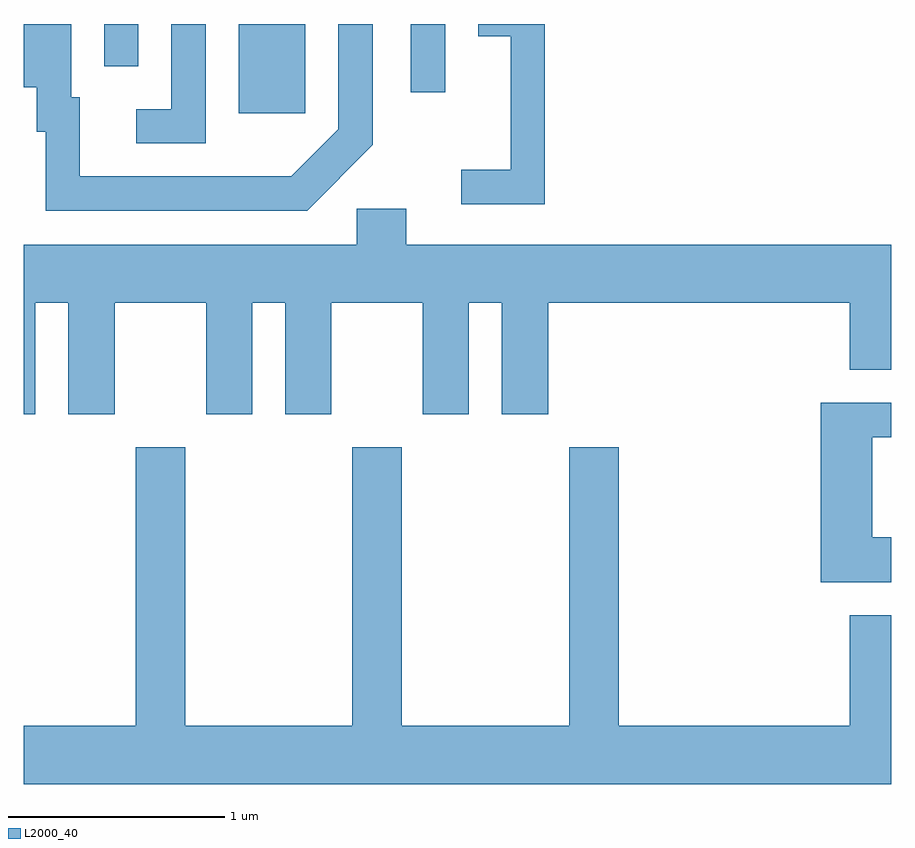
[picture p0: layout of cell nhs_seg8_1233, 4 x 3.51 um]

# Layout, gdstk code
import gdstk
lib = gdstk.Library(unit=1e-6, precision=1e-09)
def R(c, l, rs):  # rectangles x0, y0, x1, y1
    for r in rs: c.add(gdstk.rectangle(r[:2], r[2:], *l))
def P(c, l, *ps):  # polygons
    for p in ps: c.add(gdstk.Polygon(p, *l))
L2000_40 = (2000, 40)

nhs_seg8_1233 = lib.new_cell('nhs_seg8_1233')
R(nhs_seg8_1233, L2000_40, [(222.601,1863.931,222.909,1864.342), (223.396,1864.028,223.554,1864.342), (221.981,1864.148,222.139,1864.342)])
P(nhs_seg8_1233, L2000_40, [(224.014,1864.342),(223.706,1864.342),(223.706,1864.286),(223.856,1864.286),(223.856,1863.669),(223.628,1863.669),(223.628,1863.511),(224.014,1863.511)],
  [(223.219,1863.784),(223.219,1864.342),(223.061,1864.342),(223.061,1863.857),(222.844,1863.639),(221.869,1863.639),(221.869,1864.004),(221.829,1864.004),(221.829,1864.342),(221.611,1864.342),(221.611,1864.051),(221.671,1864.051),(221.671,1863.846),(221.711,1863.846),(221.711,1863.481),(222.917,1863.481)],
  [(222.449,1864.342),(222.291,1864.342),(222.291,1863.949),(222.128,1863.949),(222.128,1863.791),(222.449,1863.791)],
  [(221.664,1863.056),(221.816,1863.056),(221.816,1862.541),(222.029,1862.541),(222.029,1863.056),(222.451,1863.056),(222.451,1862.541),(222.664,1862.541),(222.664,1863.056),(222.816,1863.056),(222.816,1862.541),(223.029,1862.541),(223.029,1863.056),(223.451,1863.056),(223.451,1862.541),(223.664,1862.541),(223.664,1863.056),(223.816,1863.056),(223.816,1862.541),(224.029,1862.541),(224.029,1863.056),(225.421,1863.056),(225.421,1862.746),(225.611,1862.746),(225.611,1863.324),(223.374,1863.324),(223.374,1863.489),(223.146,1863.489),(223.146,1863.324),(221.611,1863.324),(221.611,1862.541),(221.664,1862.541)],
  [(225.611,1861.974),(225.524,1861.974),(225.524,1862.436),(225.611,1862.436),(225.611,1862.594),(225.286,1862.594),(225.286,1861.766),(225.611,1861.766)],
  [(225.611,1861.614),(225.421,1861.614),(225.421,1861.104),(224.354,1861.104),(224.354,1862.389),(224.126,1862.389),(224.126,1861.104),(223.354,1861.104),(223.354,1862.389),(223.126,1862.389),(223.126,1861.104),(222.354,1861.104),(222.354,1862.389),(222.126,1862.389),(222.126,1861.104),(221.611,1861.104),(221.611,1860.836),(225.611,1860.836)])

lib.write_gds('nhs_seg8_1233.gds')
